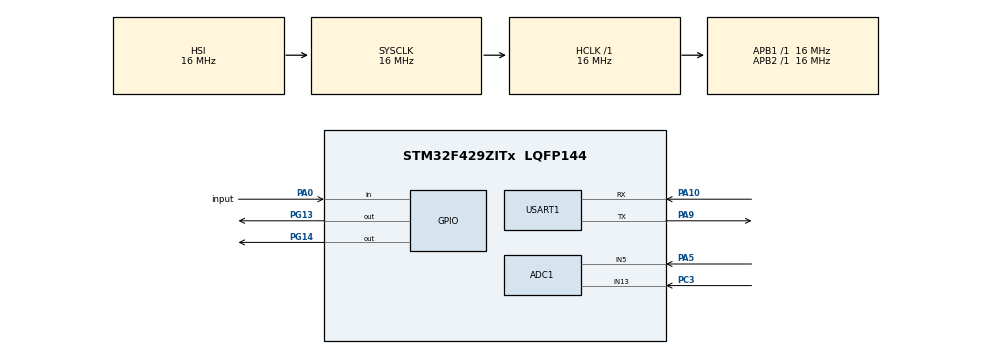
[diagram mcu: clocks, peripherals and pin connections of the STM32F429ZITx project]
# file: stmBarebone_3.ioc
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ADC1.Channel-1\#ChannelRegularConversion=ADC_CHANNEL_5
ADC1.Channel-2\#ChannelRegularConversion=ADC_CHANNEL_13
ADC1.Channel-3\#ChannelRegularConversion=ADC_CHANNEL_TEMPSENSOR
ADC1.ContinuousConvMode=ENABLE
ADC1.NbrOfConversion=3
ADC1.NbrOfConversionFlag=1
ADC1.Rank-1\#ChannelRegularConversion=1
ADC1.Rank-2\#ChannelRegularConversion=2
ADC1.Rank-3\#ChannelRegularConversion=3
ADC1.SamplingTime-1\#ChannelRegularConversion=ADC_SAMPLETIME_28CYCLES
ADC1.SamplingTime-2\#ChannelRegularConversion=ADC_SAMPLETIME_84CYCLES
ADC1.SamplingTime-3\#ChannelRegularConversion=ADC_SAMPLETIME_112CYCLES
ADC1.ScanConvMode=ENABLE
ADC1.master=1
Mcu.Family=STM32F4
Mcu.Name=STM32F429ZITx
Mcu.Package=LQFP144
NVIC.PriorityGroup=NVIC_PRIORITYGROUP_4
PA0/WKUP.GPIO_Label=input
PA0/WKUP.Signal=GPIO_Input
PA1.Signal=ADCx_IN1
PA10.Mode=Asynchronous
PA10.Signal=USART1_RX
PA13.Signal=SYS_JTMS-SWDIO
PA14.Signal=SYS_JTCK-SWCLK
PA5.Signal=ADCx_IN5
PA9.Mode=Asynchronous
PA9.Signal=USART1_TX
PC14/OSC32_IN.Signal=RCC_OSC32_IN
PC15/OSC32_OUT.Signal=RCC_OSC32_OUT
PC3.Signal=ADCx_IN13
PC6.Signal=LTDC_HSYNC
PG13.Signal=GPIO_Output
PG14.Signal=GPIO_Output
PG8.Signal=FMC_SDCLK
PH0/OSC_IN.Mode=HSE-External-Oscillator
PH0/OSC_IN.Signal=RCC_OSC_IN
PH1/OSC_OUT.Mode=HSE-External-Oscillator
PH1/OSC_OUT.Signal=RCC_OSC_OUT
ProjectManager.HeapSize=0x200
ProjectManager.StackSize=0x400
ProjectManager.TargetToolchain=STM32CubeIDE
RCC.48MHZClocksFreq_Value=192000000
RCC.AHBFreq_Value=16000000
RCC.APB1Freq_Value=16000000
RCC.APB2Freq_Value=16000000
RCC.CortexFreq_Value=16000000
RCC.HSE_VALUE=8000000
RCC.HSI_VALUE=16000000
RCC.LSE_VALUE=32768
RCC.PLLM=4
RCC.SYSCLKFreq_VALUE=16000000
RCC.VCOOutputFreq_Value=768000000
SH.ADCx_IN1.0=ADC1_IN1
SH.ADCx_IN13.0=ADC1_IN13,IN13
SH.ADCx_IN5.0=ADC1_IN5,IN5
SH.FMC_SDCLK.0=FMC_SDCLK
USART1.VirtualMode=VM_ASYNC
VP_ADC1_TempSens_Input.Mode=IN-TempSens
board=custom

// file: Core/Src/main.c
/* USER CODE BEGIN Header */
/**
  ******************************************************************************
  * @file           : main.c
  * @brief          : Main program body
  ******************************************************************************
  * @attention
  *
  * Copyright (c) 2022 STMicroelectronics.
  * All rights reserved.
  *
  * This software is licensed under terms that can be found in the LICENSE file
  * in the root directory of this software component.
  * If no LICENSE file comes with this software, it is provided AS-IS.
  *
  ******************************************************************************
  */
/* USER CODE END Header */
#include "main.h"

ADC_HandleTypeDef hadc1;

UART_HandleTypeDef huart1;

void SystemClock_Config(void);
static void MX_GPIO_Init(void);
static void MX_USART1_UART_Init(void);
static void MX_ADC1_Init(void);

/* USER CODE BEGIN 0 */
void ADC_Select_PA5(void){
	  ADC_ChannelConfTypeDef sConfig = {0};
	  sConfig.Channel = ADC_CHANNEL_5;
	  sConfig.Rank = 1;
	  sConfig.SamplingTime = ADC_SAMPLETIME_28CYCLES;
	  if (HAL_ADC_ConfigChannel(&hadc1, &sConfig) != HAL_OK)
	  {
	    Error_Handler();
	  }
}

void ADC_Select_PC3(void){
	  ADC_ChannelConfTypeDef sConfig = {0};
	  sConfig.Channel = ADC_CHANNEL_13;
	  sConfig.Rank = 1;
	  sConfig.SamplingTime = ADC_SAMPLETIME_84CYCLES;
	  if (HAL_ADC_ConfigChannel(&hadc1, &sConfig) != HAL_OK)
	  {
	    Error_Handler();
	  }

}

void ADC_Select_TEMP(void){

	      ADC_ChannelConfTypeDef sConfig = {0};
		  sConfig.Channel = ADC_CHANNEL_TEMPSENSOR;
		  sConfig.Rank = 1;
		  sConfig.SamplingTime = ADC_SAMPLETIME_112CYCLES;
		  if (HAL_ADC_ConfigChannel(&hadc1, &sConfig) != HAL_OK)
		  {
		    Error_Handler();
		  }
}

uint16_t ADC_VAL[3];

#define Avg_Slope .0025
#define V25 0.76

float Temp = 0.0;

/* USER CODE END 0 */

int main(void)
{
  /* USER CODE BEGIN 1 */
  uint16_t rawAnalog;
  char analogValue[10];
  /* USER CODE END 1 */

  /* MCU Configuration--------------------------------------------------------*/

  /* Reset of all peripherals, Initializes the Flash interface and the Systick. */
  HAL_Init();

  /* Configure the system clock */
  SystemClock_Config();

  /* Initialize all configured peripherals */
  MX_GPIO_Init();
  MX_USART1_UART_Init();
  MX_ADC1_Init();

  /* Infinite loop */
  /* USER CODE BEGIN WHILE */
  uint8_t buttonReadState = 0;
  while (1)
  {
	  //HAL_GPIO_TogglePin(GPIOG, GPIO_PIN_14);
	  //HAL_GPIO_TogglePin(GPIOG, GPIO_PIN_13);
	  //HAL_Delay(500);
	   // LED ON
	      HAL_GPIO_WritePin(GPIOG, GPIO_PIN_13, GPIO_PIN_SET);
	      HAL_Delay(50);
	      // LED OFF
	      HAL_GPIO_WritePin(GPIOG, GPIO_PIN_13, GPIO_PIN_RESET);
	      HAL_Delay(50);

	      buttonReadState = HAL_GPIO_ReadPin(GPIOA, GPIO_PIN_0);
	      if(buttonReadState == 0){
	    	  HAL_GPIO_WritePin(GPIOG, GPIO_PIN_14, GPIO_PIN_RESET);
	      }
	      else{
	    	  HAL_GPIO_WritePin(GPIOG, GPIO_PIN_14, GPIO_PIN_SET);
	      }

	      /// ADC ..........////
	      //HAL_ADC_Start(&hadc1); //GET ADC Value for PA1
	      //HAL_ADC_PollForConversion(&hadc1, HAL_MAX_DELAY);
	      //rawAnalog = HAL_ADC_GetValue(&hadc1);

	      // Convert to String
	      //sprintf(analogValue,"%hu\r\n",rawAnalog);

	      //char data[] = "Analog Value of PA1 is: ";
	      //HAL_UART_Transmit(&huart1,"Test \r\n",7, 50);
	      //HAL_UART_Transmit(&huart1, data, strlen(data), HAL_MAX_DELAY);
	      //HAL_UART_Transmit(&huart1, (uint8_t*)analogValue, strlen(analogValue), HAL_MAX_DELAY);
	      //HAL_Delay(10);

          // https://controllerstech.com/stm32-adc-multi-channel-without-dma/
	      ADC_Select_PA5();
	      HAL_ADC_Start(&hadc1);
	      HAL_ADC_PollForConversion(&hadc1, HAL_MAX_DELAY);
	      ADC_VAL[0] = HAL_ADC_GetValue(&hadc1);
	      HAL_ADC_Stop(&hadc1);

	      ADC_Select_PC3();
	      HAL_ADC_Start(&hadc1);
	      HAL_ADC_PollForConversion(&hadc1, HAL_MAX_DELAY);
	      ADC_VAL[1] = HAL_ADC_GetValue(&hadc1);
	      HAL_ADC_Stop(&hadc1);

	      ADC_Select_TEMP();
	      HAL_ADC_Start(&hadc1);
	      HAL_ADC_PollForConversion(&hadc1, HAL_MAX_DELAY);
	      ADC_VAL[2] = HAL_ADC_GetValue(&hadc1);
	      HAL_ADC_Stop(&hadc1);

	      Temp = ((3.3*ADC_VAL[2]/4095 - V25)/Avg_Slope)+25;
    /* USER CODE END WHILE */

  }
}

void SystemClock_Config(void)
{
  RCC_OscInitTypeDef RCC_OscInitStruct = {0};
  RCC_ClkInitTypeDef RCC_ClkInitStruct = {0};

  /** Configure the main internal regulator output voltage
  */
  __HAL_RCC_PWR_CLK_ENABLE();
  __HAL_PWR_VOLTAGESCALING_CONFIG(PWR_REGULATOR_VOLTAGE_SCALE3);
  /** Initializes the RCC Oscillators according to the specified parameters
  * in the RCC_OscInitTypeDef structure.
  */
  RCC_OscInitStruct.OscillatorType = RCC_OSCILLATORTYPE_HSI;
  RCC_OscInitStruct.HSIState = RCC_HSI_ON;
  RCC_OscInitStruct.HSICalibrationValue = RCC_HSICALIBRATION_DEFAULT;
  RCC_OscInitStruct.PLL.PLLState = RCC_PLL_NONE;
  if (HAL_RCC_OscConfig(&RCC_OscInitStruct) != HAL_OK)
  {
    Error_Handler();
  }
  /** Initializes the CPU, AHB and APB buses clocks
  */
  RCC_ClkInitStruct.ClockType = RCC_CLOCKTYPE_HCLK|RCC_CLOCKTYPE_SYSCLK
                              |RCC_CLOCKTYPE_PCLK1|RCC_CLOCKTYPE_PCLK2;
  RCC_ClkInitStruct.SYSCLKSource = RCC_SYSCLKSOURCE_HSI;
  RCC_ClkInitStruct.AHBCLKDivider = RCC_SYSCLK_DIV1;
  RCC_ClkInitStruct.APB1CLKDivider = RCC_HCLK_DIV1;
  RCC_ClkInitStruct.APB2CLKDivider = RCC_HCLK_DIV1;

  if (HAL_RCC_ClockConfig(&RCC_ClkInitStruct, FLASH_LATENCY_0) != HAL_OK)
  {
    Error_Handler();
  }
}

static void MX_ADC1_Init(void)
{

  ADC_ChannelConfTypeDef sConfig = {0};

  /* USER CODE BEGIN ADC1_Init 1 */
  //https://www.youtube.com/watch?v=5l-b6lsubBE
  /* USER CODE END ADC1_Init 1 */
  /** Configure the global features of the ADC (Clock, Resolution, Data Alignment and number of conversion)
  */
  hadc1.Instance = ADC1;
  hadc1.Init.ClockPrescaler = ADC_CLOCK_SYNC_PCLK_DIV2;
  hadc1.Init.Resolution = ADC_RESOLUTION_12B;
  hadc1.Init.ScanConvMode = ENABLE;
  hadc1.Init.ContinuousConvMode = ENABLE;
  hadc1.Init.DiscontinuousConvMode = DISABLE;
  hadc1.Init.ExternalTrigConvEdge = ADC_EXTERNALTRIGCONVEDGE_NONE;
  hadc1.Init.ExternalTrigConv = ADC_SOFTWARE_START;
  hadc1.Init.DataAlign = ADC_DATAALIGN_RIGHT;
  hadc1.Init.NbrOfConversion = 3;
  hadc1.Init.DMAContinuousRequests = DISABLE;
  hadc1.Init.EOCSelection = ADC_EOC_SINGLE_CONV;
  if (HAL_ADC_Init(&hadc1) != HAL_OK)
  {
    Error_Handler();
  }

}

static void MX_USART1_UART_Init(void)
{

  huart1.Instance = USART1;
  huart1.Init.BaudRate = 115200;
  huart1.Init.WordLength = UART_WORDLENGTH_8B;
  huart1.Init.StopBits = UART_STOPBITS_1;
  huart1.Init.Parity = UART_PARITY_NONE;
  huart1.Init.Mode = UART_MODE_TX_RX;
  huart1.Init.HwFlowCtl = UART_HWCONTROL_NONE;
  huart1.Init.OverSampling = UART_OVERSAMPLING_16;
  if (HAL_UART_Init(&huart1) != HAL_OK)
  {
    Error_Handler();
  }

}

static void MX_GPIO_Init(void)
{
  GPIO_InitTypeDef GPIO_InitStruct = {0};

  /* GPIO Ports Clock Enable */
  __HAL_RCC_GPIOC_CLK_ENABLE();
  __HAL_RCC_GPIOH_CLK_ENABLE();
  __HAL_RCC_GPIOA_CLK_ENABLE();
  __HAL_RCC_GPIOG_CLK_ENABLE();

  /*Configure GPIO pin Output Level */
  HAL_GPIO_WritePin(GPIOG, GPIO_PIN_13|GPIO_PIN_14, GPIO_PIN_RESET);

  /*Configure GPIO pin : input_Pin */
  GPIO_InitStruct.Pin = input_Pin;
  GPIO_InitStruct.Mode = GPIO_MODE_INPUT;
  GPIO_InitStruct.Pull = GPIO_NOPULL;
  HAL_GPIO_Init(input_GPIO_Port, &GPIO_InitStruct);

  /*Configure GPIO pin : PG8 */
  GPIO_InitStruct.Pin = GPIO_PIN_8;
  GPIO_InitStruct.Mode = GPIO_MODE_AF_PP;
  GPIO_InitStruct.Pull = GPIO_NOPULL;
  GPIO_InitStruct.Speed = GPIO_SPEED_FREQ_VERY_HIGH;
  GPIO_InitStruct.Alternate = GPIO_AF12_FMC;
  HAL_GPIO_Init(GPIOG, &GPIO_InitStruct);

  /*Configure GPIO pin : PC6 */
  GPIO_InitStruct.Pin = GPIO_PIN_6;
  GPIO_InitStruct.Mode = GPIO_MODE_AF_PP;
  GPIO_InitStruct.Pull = GPIO_NOPULL;
  GPIO_InitStruct.Speed = GPIO_SPEED_FREQ_LOW;
  GPIO_InitStruct.Alternate = GPIO_AF14_LTDC;
  HAL_GPIO_Init(GPIOC, &GPIO_InitStruct);

  /*Configure GPIO pins : PG13 PG14 */
  GPIO_InitStruct.Pin = GPIO_PIN_13|GPIO_PIN_14;
  GPIO_InitStruct.Mode = GPIO_MODE_OUTPUT_PP;
  GPIO_InitStruct.Pull = GPIO_NOPULL;
  GPIO_InitStruct.Speed = GPIO_SPEED_FREQ_LOW;
  HAL_GPIO_Init(GPIOG, &GPIO_InitStruct);

}

void Error_Handler(void)
{
  __disable_irq();
  while (1)
  {
  }
}
